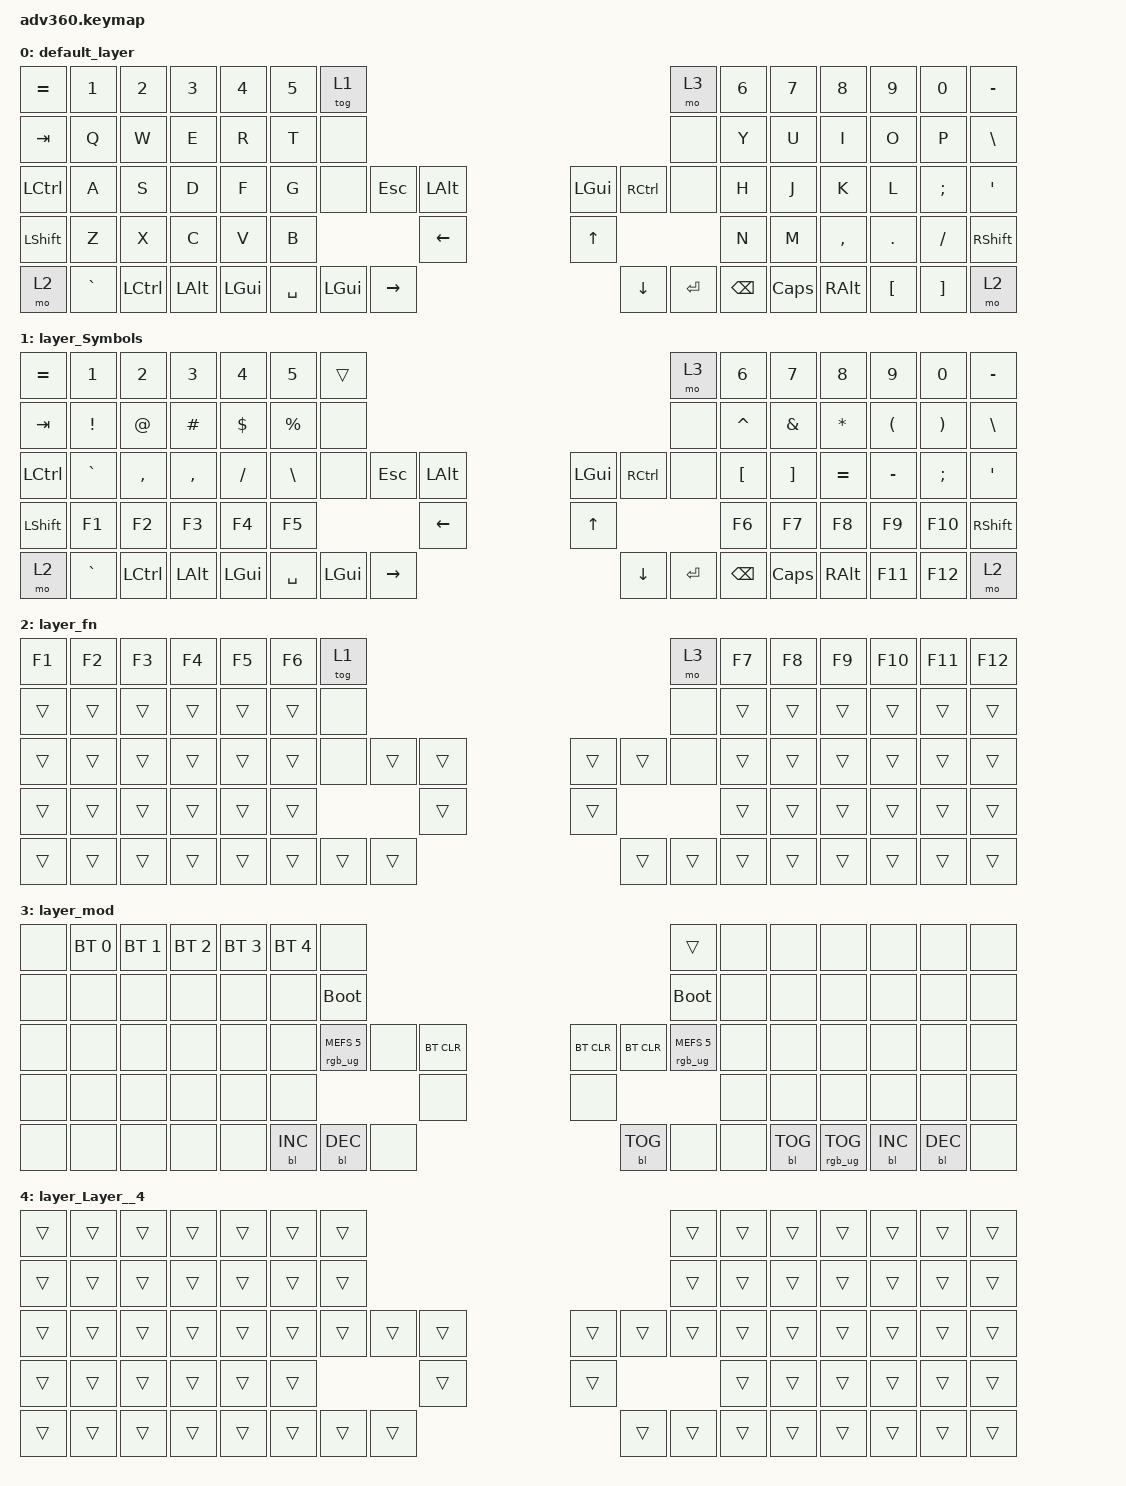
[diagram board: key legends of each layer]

/*
 * Copyright (c) 2020 The ZMK Contributors
 *
 * SPDX-License-Identifier: MIT
 */


/* THIS FILE WAS GENERATED!
 *
 * This file was generated automatically. You may or may not want to
 * edit it directly.
 */

#include <behaviors.dtsi>
#include <dt-bindings/zmk/keys.h>
#include <dt-bindings/zmk/bt.h>
#include <dt-bindings/zmk/rgb.h>
#include <dt-bindings/zmk/backlight.h>

/ {
  behaviors {
    #include "macros.dtsi"
    #include "version.dtsi"

    hm: homerow_mods {
        compatible = "zmk,behavior-hold-tap";
        label = "HOMEROW_MODS";
        #binding-cells = <2>;
        tapping-term-ms = <200>;
        quick_tap_ms = <175>;
        flavor = "tap-preferred";
        bindings = <&kp>, <&kp>;
    };
  };

    keymap {
        compatible = "zmk,keymap";


        default_layer {
            bindings = <
 &kp EQUAL     &kp N1     &kp N2    &kp N3    &kp N4  &kp N5               &tog 1                                                               &mo 3  &kp N6    &kp N7     &kp N8    &kp N9    &kp N0  &kp MINUS
   &kp TAB      &kp Q      &kp W     &kp E     &kp R   &kp T                &none                                                               &none   &kp Y     &kp U      &kp I     &kp O     &kp P   &kp BSLH
 &kp LCTRL      &kp A      &kp S     &kp D     &kp F   &kp G                &none   &kp ESC   &kp LALT                  &kp LGUI  &kp RCTRL     &none   &kp H     &kp J      &kp K     &kp L  &kp SEMI    &kp SQT
 &kp LSHFT      &kp Z      &kp X     &kp C     &kp V   &kp B                                  &kp LEFT                    &kp UP                        &kp N     &kp M  &kp COMMA   &kp DOT  &kp FSLH  &kp RSHFT
     &mo 2  &kp GRAVE  &kp LCTRL  &kp LALT  &kp LGUI                    &kp SPACE  &kp LGUI  &kp RIGHT                  &kp DOWN  &kp ENTER  &kp BSPC          &kp CAPS   &kp RALT  &kp LBKT  &kp RBKT      &mo 2
            >;
        };

        layer_Symbols {
            bindings = <
 &kp EQUAL           &kp N1     &kp N2     &kp N3      &kp N4         &kp N5               &trans                                                               &mo 3            &kp N6             &kp N7        &kp N8                &kp N9                 &kp N0  &kp MINUS
   &kp TAB  &kp EXCLAMATION     &kp AT  &kp POUND  &kp DOLLAR    &kp PERCENT                &none                                                               &none         &kp CARET      &kp AMPERSAND  &kp ASTERISK  &kp LEFT_PARENTHESIS  &kp RIGHT_PARENTHESIS   &kp BSLH
 &kp LCTRL        &kp GRAVE  &kp COMMA  &kp COMMA   &kp SLASH  &kp BACKSLASH                &none   &kp ESC   &kp LALT                  &kp LGUI  &kp RCTRL     &none  &kp LEFT_BRACKET  &kp RIGHT_BRACKET     &kp EQUAL             &kp MINUS          &kp SEMICOLON    &kp SQT
 &kp LSHFT           &kp F1     &kp F2     &kp F3      &kp F4         &kp F5                                  &kp LEFT                    &kp UP                                 &kp F6             &kp F7        &kp F8                &kp F9                &kp F10  &kp RSHFT
     &mo 2        &kp GRAVE  &kp LCTRL   &kp LALT    &kp LGUI                           &kp SPACE  &kp LGUI  &kp RIGHT                  &kp DOWN  &kp ENTER  &kp BSPC                         &kp CAPSLOCK      &kp RALT               &kp F11                &kp F12      &mo 2
            >;
        };

        layer_fn {
            bindings = <
 &kp F1  &kp F2  &kp F3  &kp F4  &kp F5  &kp F6            &tog 1                                                   &mo 3  &kp F7  &kp F8  &kp F9  &kp F10  &kp F11  &kp F12
 &trans  &trans  &trans  &trans  &trans  &trans             &none                                                   &none  &trans  &trans  &trans   &trans   &trans   &trans
 &trans  &trans  &trans  &trans  &trans  &trans             &none  &trans  &trans                  &trans  &trans   &none  &trans  &trans  &trans   &trans   &trans   &trans
 &trans  &trans  &trans  &trans  &trans  &trans                            &trans                  &trans                  &trans  &trans  &trans   &trans   &trans   &trans
 &trans  &trans  &trans  &trans  &trans                    &trans  &trans  &trans                  &trans  &trans  &trans          &trans  &trans   &trans   &trans   &trans
            >;
        };

        layer_mod {
            bindings = <
  &none  &bt BT_SEL 0  &bt BT_SEL 1  &bt BT_SEL 2  &bt BT_SEL 3  &bt BT_SEL 4                             &none                                                                                  &trans   &none       &none            &none       &none       &none   &none
  &none         &none         &none         &none         &none         &none                       &bootloader                                                                             &bootloader   &none       &none            &none       &none       &none   &none
  &none         &none         &none         &none         &none         &none            &rgb_ug RGB_MEFS_CMD 5       &none  &bt BT_CLR                  &bt BT_CLR  &bt BT_CLR  &rgb_ug RGB_MEFS_CMD 5   &none       &none            &none       &none       &none   &none
  &none         &none         &none         &none         &none         &none                                                     &none                       &none                                       &none       &none            &none       &none       &none   &none
  &none         &none         &none         &none         &none                                      &bl BL_INC  &bl BL_DEC       &none                  &bl BL_TOG       &none                   &none          &bl BL_TOG  &rgb_ug RGB_TOG  &bl BL_INC  &bl BL_DEC   &none
            >;
        };

        layer_Layer__4 {
            bindings = <
 &trans  &trans  &trans  &trans  &trans  &trans            &trans                                                  &trans  &trans  &trans  &trans  &trans  &trans  &trans
 &trans  &trans  &trans  &trans  &trans  &trans            &trans                                                  &trans  &trans  &trans  &trans  &trans  &trans  &trans
 &trans  &trans  &trans  &trans  &trans  &trans            &trans  &trans  &trans                  &trans  &trans  &trans  &trans  &trans  &trans  &trans  &trans  &trans
 &trans  &trans  &trans  &trans  &trans  &trans                            &trans                  &trans                  &trans  &trans  &trans  &trans  &trans  &trans
 &trans  &trans  &trans  &trans  &trans                    &trans  &trans  &trans                  &trans  &trans  &trans          &trans  &trans  &trans  &trans  &trans
            >;
        };

    };
};
